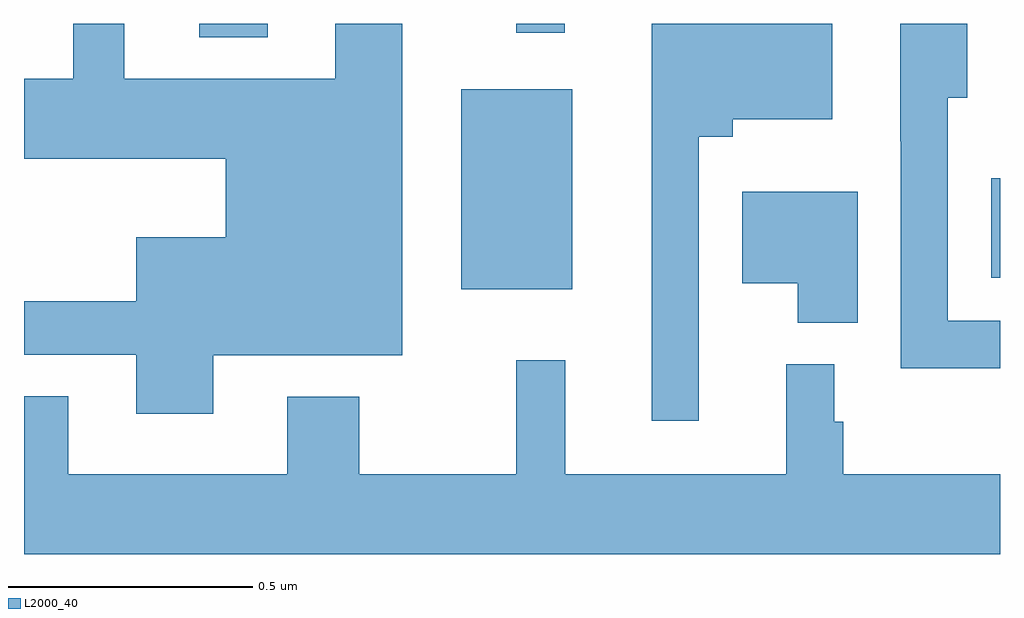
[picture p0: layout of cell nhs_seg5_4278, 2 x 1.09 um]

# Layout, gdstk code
import gdstk
lib = gdstk.Library(unit=1e-6, precision=1e-09)
def R(c, l, rs):  # rectangles x0, y0, x1, y1
    for r in rs: c.add(gdstk.rectangle(r[:2], r[2:], *l))
def P(c, l, *ps):  # polygons
    for p in ps: c.add(gdstk.Polygon(p, *l))
L2000_40 = (2000, 40)

nhs_seg5_4278 = lib.new_cell('nhs_seg5_4278')
R(nhs_seg5_4278, L2000_40, [(168.896,905.255,169.123,905.665), (169.982,905.279,170,905.482), (168.359,905.771,168.499,905.799), (169.009,905.781,169.108,905.799)])
P(nhs_seg5_4278, L2000_40, [(170,905.19),(169.893,905.19),(169.893,905.647),(169.933,905.647),(169.933,905.799),(169.796,905.799),(169.796,905.558),(169.797,905.558),(169.797,905.093),(170,905.093)],
  [(169.383,905.567),(169.452,905.567),(169.452,905.603),(169.656,905.603),(169.656,905.799),(169.286,905.799),(169.286,904.986),(169.383,904.986)],
  [(168.388,905.12),(168.775,905.12),(168.775,905.799),(168.638,905.799),(168.638,905.686),(168.205,905.686),(168.205,905.799),(168.101,905.799),(168.101,905.686),(168,905.686),(168,905.522),(168.413,905.522),(168.413,905.362),(168.23,905.362),(168.23,905.23),(168,905.23),(168,905.121),(168.23,905.121),(168.23,905),(168.388,905)],
  [(169.708,905.455),(169.472,905.455),(169.472,905.267),(169.586,905.267),(169.586,905.186),(169.708,905.186)],
  [(170,904.876),(169.679,904.876),(169.679,904.983),(169.66,904.983),(169.66,905.101),(169.562,905.101),(169.562,904.876),(169.109,904.876),(169.109,905.11),(169.009,905.11),(169.009,904.876),(168.687,904.876),(168.687,905.035),(168.539,905.035),(168.539,904.876),(168.091,904.876),(168.091,905.036),(168,905.036),(168,904.712),(170,904.712)])

lib.write_gds('nhs_seg5_4278.gds')
